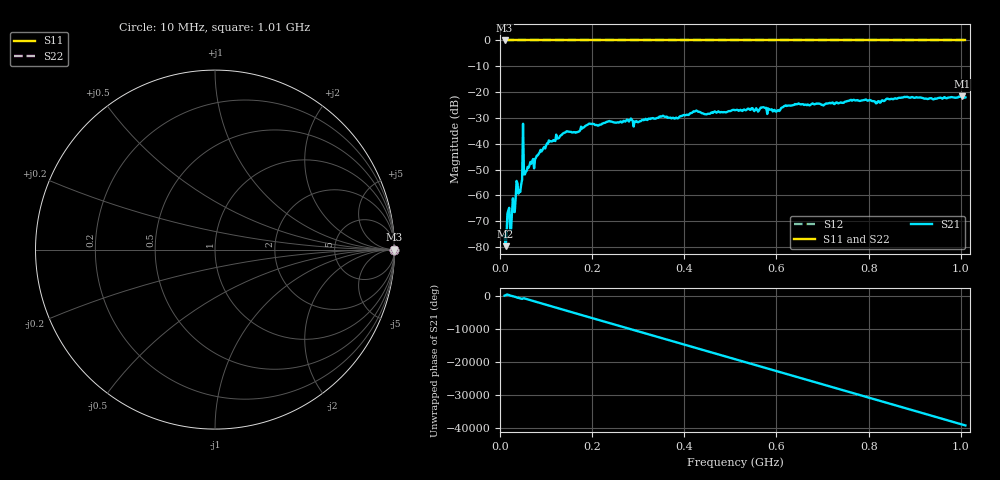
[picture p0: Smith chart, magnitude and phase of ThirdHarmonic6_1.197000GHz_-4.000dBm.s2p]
! 8/16/2025 12:21:18 PM
! C:\ANRITSUVNA\TEMP\TEMP.S2P
! CHANNEL.1
! TR.MEASUREMENT
! RAW.DATA
! RF.CORRECTION.OFF
! AVERAGING.OFF
! IF.BANDWIDTH: 5KHZ
! SWEEPTYPE:  FREQ.SWEEP(Linear)
! Reference Plane Port Info
! PORT:  PORT1  PORT2
! DISTANCE:  0  m  0  m
! TIME:  0  s  0  s
! PHASE.OFFSET:  0  deg.  0  deg.
! LOSS:  0  dB  0  dB
! REF.LOSS:  0  dB  0  dB
! REF.FREQ:  0  Hz  0  Hz
! Power Info
! POWER:  -20  dBm  -20  dBm
! EFF.POWER:  -20  dBm  -20  dBm
! SOURCE.ATTEN:  0  dB  0  dB
! TEST.ATTEN:  0  dB  0  dB
# GHZ S RI R 50.0
! FREQ.GHZ  S11RE  S11IM  S21RE  S21IM  S12RE  S12IM  S22RE  S22IM
!; PortSelection: Port_12
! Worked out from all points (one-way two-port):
!   501 points, 10 MHz to 1.01 GHz, reference 50 ohm
!   highest |S21| = -21.58 dB at 1.002 GHz (marker M1); lowest = -79.7 dB at 12 MHz (marker M2)
!   lowest |S11| = 0.0 dB at 10 MHz (marker M3)
!   |S11| at or under -10 dB: nowhere
!   |S22| runs from 0.0 to 0.0 dB; largest |S21 - S12| = 1.1
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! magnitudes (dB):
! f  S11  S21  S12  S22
! 10 MHz  0.0  -75.5  0.0  0.0
! 12 MHz  0.0  -79.7  0.0  0.0
! 18 MHz  0.0  -65.9  0.0  0.0
! 26 MHz  0.0  -66.7  0.0  0.0
! 38 MHz  0.0  -55.4  0.0  0.0
! 44 MHz  0.0  -58.7  0.0  0.0
! 46 MHz  0.0  -55.7  0.0  0.0
! 54 MHz  0.0  -51.9  0.0  0.0
! 56 MHz  0.0  -50.8  0.0  0.0
! 106 MHz  0.0  -38.7  0.0  0.0
! 178 MHz  0.0  -34.1  0.0  0.0
! 196 MHz  0.0  -32.3  0.0  0.0
! 294 MHz  0.0  -31.4  0.0  0.0
! 344 MHz  0.0  -30.0  0.0  0.0
! 510 MHz  0.0  -27.0  0.0  0.0
! 570 MHz  0.0  -25.9  0.0  0.0
! 602 MHz  0.0  -27.1  0.0  0.0
! 620 MHz  0.0  -25.1  0.0  0.0
! 678 MHz  0.0  -24.4  0.0  0.0
! 844 MHz  0.0  -22.7  0.0  0.0
! 1.002 GHz  0.0  -21.6  0.0  0.0
! 1.01 GHz  0.0  -22.1  0.0  0.0
